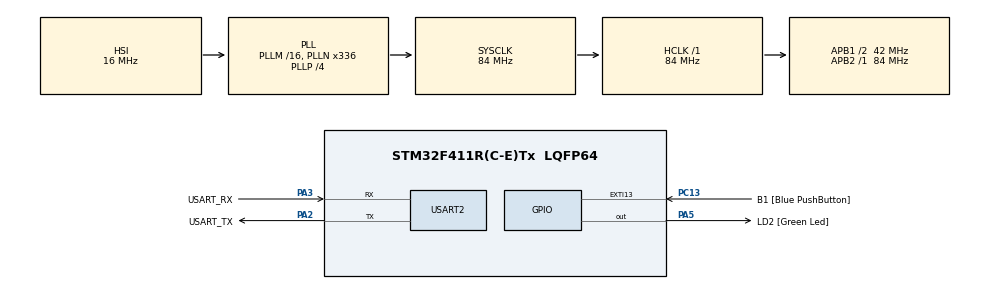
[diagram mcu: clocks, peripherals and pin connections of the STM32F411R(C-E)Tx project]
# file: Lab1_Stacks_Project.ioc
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Mcu.Family=STM32F4
Mcu.Name=STM32F411R(C-E)Tx
Mcu.Package=LQFP64
NVIC.PriorityGroup=NVIC_PRIORITYGROUP_0
PA13.GPIO_Label=TMS
PA13.Mode=Serial_Wire
PA13.Signal=SYS_JTMS-SWDIO
PA14.GPIO_Label=TCK
PA14.Mode=Serial_Wire
PA14.Signal=SYS_JTCK-SWCLK
PA2.GPIO_Label=USART_TX
PA2.Mode=Asynchronous
PA2.Signal=USART2_TX
PA3.GPIO_Label=USART_RX
PA3.Mode=Asynchronous
PA3.Signal=USART2_RX
PA5.GPIO_Label=LD2 [Green Led]
PA5.Signal=GPIO_Output
PB3.GPIO_Label=SWO
PB3.Signal=SYS_JTDO-SWO
PC13-ANTI_TAMP.GPIO_Label=B1 [Blue PushButton]
PC13-ANTI_TAMP.GPIO_ModeDefaultEXTI=GPIO_MODE_IT_FALLING
PC13-ANTI_TAMP.Signal=GPXTI13
PC14-OSC32_IN.Mode=LSE-External-Oscillator
PC14-OSC32_IN.Signal=RCC_OSC32_IN
PC15-OSC32_OUT.Mode=LSE-External-Oscillator
PC15-OSC32_OUT.Signal=RCC_OSC32_OUT
PH0\ -\ OSC_IN.Mode=HSE-External-Clock-Source
PH0\ -\ OSC_IN.Signal=RCC_OSC_IN
PH1\ -\ OSC_OUT.Mode=HSE-External-Clock-Source
PH1\ -\ OSC_OUT.Signal=RCC_OSC_OUT
ProjectManager.HeapSize=0x200
ProjectManager.StackSize=0x400
ProjectManager.TargetToolchain=STM32CubeIDE
RCC.48MHZClocksFreq_Value=84000000
RCC.AHBFreq_Value=84000000
RCC.APB1CLKDivider=RCC_HCLK_DIV2
RCC.APB1Freq_Value=42000000
RCC.APB1TimFreq_Value=84000000
RCC.APB2Freq_Value=84000000
RCC.APB2TimFreq_Value=84000000
RCC.CortexFreq_Value=84000000
RCC.FLatency-AdvancedSettings=FLASH_LATENCY_2
RCC.HCLKFreq_Value=84000000
RCC.HSE_VALUE=8000000
RCC.HSI_VALUE=16000000
RCC.PLLN=336
RCC.PLLP=RCC_PLLP_DIV4
RCC.SYSCLKFreq_VALUE=84000000
RCC.SYSCLKSource=RCC_SYSCLKSOURCE_PLLCLK
RCC.VCOOutputFreq_Value=336000000
USART2.VirtualMode=VM_ASYNC
board=NUCLEO-F411RE

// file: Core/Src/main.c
/* USER CODE BEGIN Header */
/**
  ******************************************************************************
  * @file           : main.c
  * @brief          : Main program body
  ******************************************************************************
  * @attention
  *
  * Copyright (c) 2023 STMicroelectronics.
  * All rights reserved.
  *
  * This software is licensed under terms that can be found in the LICENSE file
  * in the root directory of this software component.
  * If no LICENSE file comes with this software, it is provided AS-IS.
  *
  ******************************************************************************
  */
/* USER CODE END Header */
#include "main.h"
#include<stdio.h>
#include<stdint.h>
#include<stdbool.h>

/* USER CODE BEGIN PD */
#define CHOOSE_PSP 2

#define _IDR_OFFSET 0X10
#define _ODR_OFFSET 0x14

#define _RCC_BASE 0x40023800 //For clock control to enable the input conversion
#define _RCC_GPIO_EN_OFFSET 0x30
#define _GPIO_CLOCK_EN *(uint32_t*) (_RCC_BASE + _RCC_GPIO_EN_OFFSET)

#define _GPIOC_BASE 0x40020800 //For clock control to enable the input conversion
#define _GPIOC_MODER *(uint32_t*) (_GPIOC_BASE)
#define _GPIOC_IDR *(uint16_t*) (_GPIOC_BASE + _IDR_OFFSET)

#define _GPIOA_BASE 0x40020000 //For clock control to enable the input conversion
#define _GPIOA_MODER *(uint32_t*) (_GPIOA_BASE)
#define _GPIOA_ODR *(uint16_t*) (_GPIOA_BASE + _ODR_OFFSET)

/* USER CODE END PD */

UART_HandleTypeDef huart2;

void SystemClock_Config(void);
static void MX_GPIO_Init(void);
static void MX_USART2_UART_Init(void);
/* USER CODE BEGIN PFP */
int __io_putchar(int ch)
{
	HAL_UART_Transmit(&huart2,(uint8_t*)&ch,1,HAL_MAX_DELAY);
	return ch;
}

void setGPIOCInput()
{
	//enalble the clock
	_GPIO_CLOCK_EN |= 1<<2;
	_GPIOC_MODER &= ~(0X3 << 26);
}

void setGPIOAOutput()
{
	//clear it first
	_GPIOA_MODER &= ~(0X3 << 10);
	//NOW WRITE
	_GPIOC_MODER |= 1<<10;
}

int readGPIOC()
{
	return (_GPIOC_IDR & 1<<13) >> 13;
}

void writeGPIOA(bool in)
{
	if(in)
		_GPIOA_ODR |= 1<<5;
	else
		_GPIOA_ODR &= ~(1<<5);
}

/* USER CODE END PFP */

int main(void)
{

  /* MCU Configuration--------------------------------------------------------*/

  /* Reset of all peripherals, Initializes the Flash interface and the Systick. */
  HAL_Init();

  /* USER CODE BEGIN Unit */

  /* USER CODE END Init */

  /* Configure the system clock */
  SystemClock_Config();

  /* Initialize all configured peripherals */
  MX_GPIO_Init();
  MX_USART2_UART_Init();
  /* USER CODE BEGIN 2 */
 // char m = 'm';
  // HAL_UART_Transmit(&huart2,&m,1,HAL_MAX_DELAY);

  printf("Hello, world!\r\n"); //\r\n means “newline and return”

  /* USER CODE END 2 */

  /* Infinite loop */
  uint32_t* MSP_INIT_VAL = *(uint32_t**)0x0;
  printf("MSP Init is: %p\n\r",MSP_INIT_VAL); //note the %p to print a pointer. It will be in hex

  uint32_t PSP = (uint32_t)MSP_INIT_VAL - 0x200;

  __set_PSP(PSP);
  __set_CONTROL(CHOOSE_PSP);
  while (1)
  {
	  writeGPIOA(!readGPIOC());
  }
}

void SystemClock_Config(void)
{
  RCC_OscInitTypeDef RCC_OscInitStruct = {0};
  RCC_ClkInitTypeDef RCC_ClkInitStruct = {0};

  /** Configure the main internal regulator output voltage
  */
  __HAL_RCC_PWR_CLK_ENABLE();
  __HAL_PWR_VOLTAGESCALING_CONFIG(PWR_REGULATOR_VOLTAGE_SCALE1);

  /** Initializes the RCC Oscillators according to the specified parameters
  * in the RCC_OscInitTypeDef structure.
  */
  RCC_OscInitStruct.OscillatorType = RCC_OSCILLATORTYPE_HSI;
  RCC_OscInitStruct.HSIState = RCC_HSI_ON;
  RCC_OscInitStruct.HSICalibrationValue = RCC_HSICALIBRATION_DEFAULT;
  RCC_OscInitStruct.PLL.PLLState = RCC_PLL_ON;
  RCC_OscInitStruct.PLL.PLLSource = RCC_PLLSOURCE_HSI;
  RCC_OscInitStruct.PLL.PLLM = 16;
  RCC_OscInitStruct.PLL.PLLN = 336;
  RCC_OscInitStruct.PLL.PLLP = RCC_PLLP_DIV4;
  RCC_OscInitStruct.PLL.PLLQ = 4;
  if (HAL_RCC_OscConfig(&RCC_OscInitStruct) != HAL_OK)
  {
    Error_Handler();
  }

  /** Initializes the CPU, AHB and APB buses clocks
  */
  RCC_ClkInitStruct.ClockType = RCC_CLOCKTYPE_HCLK|RCC_CLOCKTYPE_SYSCLK
                              |RCC_CLOCKTYPE_PCLK1|RCC_CLOCKTYPE_PCLK2;
  RCC_ClkInitStruct.SYSCLKSource = RCC_SYSCLKSOURCE_PLLCLK;
  RCC_ClkInitStruct.AHBCLKDivider = RCC_SYSCLK_DIV1;
  RCC_ClkInitStruct.APB1CLKDivider = RCC_HCLK_DIV2;
  RCC_ClkInitStruct.APB2CLKDivider = RCC_HCLK_DIV1;

  if (HAL_RCC_ClockConfig(&RCC_ClkInitStruct, FLASH_LATENCY_2) != HAL_OK)
  {
    Error_Handler();
  }
}

static void MX_USART2_UART_Init(void)
{

  huart2.Instance = USART2;
  huart2.Init.BaudRate = 115200;
  huart2.Init.WordLength = UART_WORDLENGTH_8B;
  huart2.Init.StopBits = UART_STOPBITS_1;
  huart2.Init.Parity = UART_PARITY_NONE;
  huart2.Init.Mode = UART_MODE_TX_RX;
  huart2.Init.HwFlowCtl = UART_HWCONTROL_NONE;
  huart2.Init.OverSampling = UART_OVERSAMPLING_16;
  if (HAL_UART_Init(&huart2) != HAL_OK)
  {
    Error_Handler();
  }

}

static void MX_GPIO_Init(void)
{
  GPIO_InitTypeDef GPIO_InitStruct = {0};

  /* GPIO Ports Clock Enable */
  __HAL_RCC_GPIOC_CLK_ENABLE();
  __HAL_RCC_GPIOH_CLK_ENABLE();
  __HAL_RCC_GPIOA_CLK_ENABLE();
  __HAL_RCC_GPIOB_CLK_ENABLE();

  /*Configure GPIO pin Output Level */
  HAL_GPIO_WritePin(LD2_GPIO_Port, LD2_Pin, GPIO_PIN_RESET);

  /*Configure GPIO pin : B1_Pin */
  GPIO_InitStruct.Pin = B1_Pin;
  GPIO_InitStruct.Mode = GPIO_MODE_IT_FALLING;
  GPIO_InitStruct.Pull = GPIO_NOPULL;
  HAL_GPIO_Init(B1_GPIO_Port, &GPIO_InitStruct);

  /*Configure GPIO pin : LD2_Pin */
  GPIO_InitStruct.Pin = LD2_Pin;
  GPIO_InitStruct.Mode = GPIO_MODE_OUTPUT_PP;
  GPIO_InitStruct.Pull = GPIO_NOPULL;
  GPIO_InitStruct.Speed = GPIO_SPEED_FREQ_LOW;
  HAL_GPIO_Init(LD2_GPIO_Port, &GPIO_InitStruct);

}

void Error_Handler(void)
{
  __disable_irq();
  while (1)
  {
  }
}
